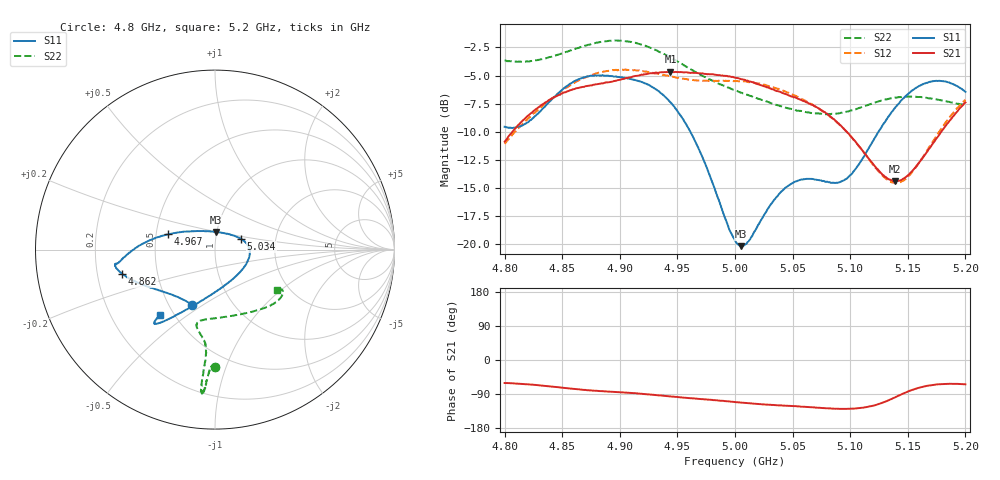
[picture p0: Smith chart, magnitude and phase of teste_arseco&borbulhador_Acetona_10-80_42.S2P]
! Network Analyzer HP8722D
! Hewlett-Packard
! Data name: Linha & Wilkinson
! Saver's name: Rodrigo Anjos
! Comments: Teste da utilização de aquisição
! continua pelo VNA HP8722D
! Time and date: 17/4/2025 14:42
!  Frequency  S11  S21  S12  S22
# HZ  S  MA R 50
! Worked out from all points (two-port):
!   401 points, 4.8 GHz to 5.2 GHz, reference 50 ohm
!   highest |S21| = -4.66 dB at 4.944 GHz (marker M1); lowest = -14.4 dB at 5.139 GHz (marker M2)
!   |S21| within 3 dB of the highest: 4.831 GHz to 5.068 GHz (236.6 MHz wide, 4.78 % of centre); 5.197589 GHz to end of sweep
!   lowest |S11| = -20.2 dB at 5.005 GHz (marker M3), VSWR 1.22, Z = 49.8 + j9.83 ohm
!   |S11| at or under -10 dB: 4.961 GHz to 5.125 GHz (163.3 MHz wide, 3.24 % of centre)
!   |S22| runs from -8.4 to -1.9 dB; largest |S21 - S12| = 0.88
!   S11 on the Smith chart (normalised r, x): 4.8 GHz: 0.65, -0.45; 4.862 GHz: 0.31, -0.12; 4.967 GHz: 0.58, +0.11; 5.034 GHz: 1.33, +0.16; 5.2 GHz: 0.42, -0.39
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4.8e9  0.333 -113.0  0.2857 -60.7  0.2795 -174.9  0.6561 -89.9
4.819e9  0.3459 -132.9  0.3681 -63.8  0.3554 -173.4  0.6501 -91.5
4.862e9  0.535 -165.5  0.4937 -76.7  0.528 -176.5  0.7419 -93.8
4.867e9  0.5477 -167.3  0.4997 -78.4  0.542 -177.6  0.7561 -93.9
4.9e9  0.5533 -171.9  0.5389 -84.9  0.5974 175.9  0.8033 -95.2
4.934e9  0.4783 -178.0  0.5799 -93.5  0.5712 172.0  0.7173 -95.5
4.944e9  0.4277 177.4  0.5848 -96.2  0.5576 172.0  0.6765 -95.4
4.967e9  0.2761 162.1  0.5773 -102.0  0.5344 174.0  0.5785 -94.9
5e9  0.1039 103.1  0.5508 -111.0  0.5322 176.3  0.4838 -99.1
5.005e9  0.09805 85.6  0.5425 -112.3  0.5299 176.3  0.4719 -100.3
5.013e9  0.1051 60.0  0.529 -114.5  0.5256 176.0  0.4571 -101.9
5.034e9  0.1575 22.0  0.4854 -118.9  0.4965 174.9  0.4197 -103.6
5.05e9  0.1874 5.6  0.4534 -121.8  0.462 174.4  0.3986 -99.7
5.067e9  0.1952 -12.5  0.4172 -124.8  0.4187 173.7  0.3825 -91.0
5.088e9  0.1877 -46.5  0.3515 -128.5  0.3504 173.7  0.3809 -75.1
5.098e9  0.1981 -67.3  0.3125 -128.8  0.3114 174.5  0.3898 -66.7
5.134e9  0.3736 -115.9  0.194 -105.4  0.1908 -158.3  0.4438 -43.0
5.139e9  0.4047 -119.0  0.1908 -98.5  0.1875 -150.4  0.4489 -40.8
5.151e9  0.4695 -124.0  0.2042 -82.1  0.2023 -131.7  0.4537 -36.3
5.17e9  0.5283 -128.5  0.2715 -66.4  0.2773 -112.6  0.4449 -31.8
5.184e9  0.5269 -129.8  0.3428 -63.1  0.354 -107.2  0.4317 -30.8
5.2e9  0.4762 -130.3  0.4269 -64.1  0.4395 -106.3  0.4151 -33.1
